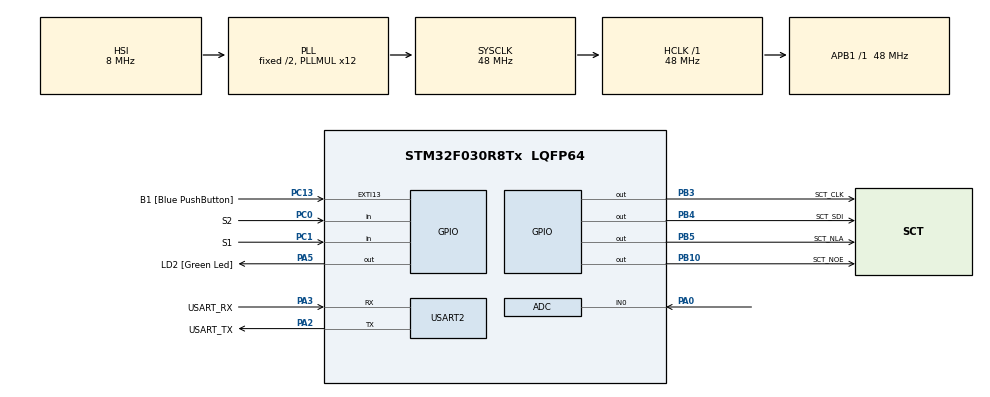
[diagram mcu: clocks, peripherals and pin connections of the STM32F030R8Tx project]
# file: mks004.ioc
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ADC.ContinuousConvMode=ENABLE
ADC.EOCSelection=ADC_EOC_SINGLE_CONV
ADC.Overrun=ADC_OVR_DATA_OVERWRITTEN
ADC.SamplingTime=ADC_SAMPLETIME_239CYCLES_5
Mcu.Family=STM32F0
Mcu.Name=STM32F030R8Tx
Mcu.Package=LQFP64
NVIC.ADC1_IRQn=true\:0\:0\:false\:false\:true\:true\:true\:true
PA0.Mode=IN0
PA0.Signal=ADC_IN0
PA13.GPIO_Label=TMS
PA13.Mode=Serial_Wire
PA13.Signal=SYS_SWDIO
PA14.GPIO_Label=TCK
PA14.Mode=Serial_Wire
PA14.Signal=SYS_SWCLK
PA2.GPIO_Label=USART_TX
PA2.GPIO_Mode=GPIO_MODE_AF_PP
PA2.GPIO_PuPd=GPIO_NOPULL
PA2.GPIO_Speed=GPIO_SPEED_FREQ_LOW
PA2.Mode=Asynchronous
PA2.Signal=USART2_TX
PA3.GPIO_Label=USART_RX
PA3.GPIO_Mode=GPIO_MODE_AF_PP
PA3.GPIO_PuPd=GPIO_NOPULL
PA3.GPIO_Speed=GPIO_SPEED_FREQ_LOW
PA3.Mode=Asynchronous
PA3.Signal=USART2_RX
PA5.GPIO_Label=LD2 [Green Led]
PA5.GPIO_Mode=GPIO_MODE_OUTPUT_PP
PA5.GPIO_PuPd=GPIO_NOPULL
PA5.GPIO_Speed=GPIO_SPEED_FREQ_LOW
PA5.Signal=GPIO_Output
PB10.GPIO_Label=SCT_NOE
PB10.Signal=GPIO_Output
PB3.GPIO_Label=SCT_CLK
PB3.Signal=GPIO_Output
PB4.GPIO_Label=SCT_SDI
PB4.Signal=GPIO_Output
PB5.GPIO_Label=SCT_NLA
PB5.Signal=GPIO_Output
PC0.GPIO_Label=S2
PC0.GPIO_PuPd=GPIO_PULLUP
PC0.Signal=GPIO_Input
PC1.GPIO_Label=S1
PC1.GPIO_PuPd=GPIO_PULLUP
PC1.Signal=GPIO_Input
PC13.GPIO_Label=B1 [Blue PushButton]
PC13.GPIO_ModeDefaultEXTI=GPIO_MODE_IT_FALLING
PC13.Signal=GPXTI13
PC14-OSC32_IN.Mode=LSE-External-Oscillator
PC14-OSC32_IN.Signal=RCC_OSC32_IN
PC15-OSC32_OUT.Mode=LSE-External-Oscillator
PC15-OSC32_OUT.Signal=RCC_OSC32_OUT
PF0-OSC_IN.Mode=HSE-External-Clock-Source
PF0-OSC_IN.Signal=RCC_OSC_IN
PF1-OSC_OUT.Signal=RCC_OSC_OUT
ProjectManager.HeapSize=0x200
ProjectManager.StackSize=0x400
ProjectManager.TargetToolchain=STM32CubeIDE
RCC.AHBFreq_Value=48000000
RCC.APB1Freq_Value=48000000
RCC.APB1TimFreq_Value=48000000
RCC.HCLKFreq_Value=48000000
RCC.PLLMUL=RCC_PLL_MUL12
RCC.SYSCLKFreq_VALUE=48000000
RCC.SYSCLKSource=RCC_SYSCLKSOURCE_PLLCLK
USART2.VirtualMode-Asynchronous=VM_ASYNC
VP_ADC_TempSens_Input.Mode=IN-TempSens
VP_ADC_Vref_Input.Mode=IN-Vrefint
board=NUCLEO-F030R8

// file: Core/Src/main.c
/* USER CODE BEGIN Header */
/**
  ******************************************************************************
  * @file           : main.c
  * @brief          : Main program body
  ******************************************************************************
  * @attention
  *
  * Copyright (c) 2025 STMicroelectronics.
  * All rights reserved.
  *
  * This software is licensed under terms that can be found in the LICENSE file
  * in the root directory of this software component.
  * If no LICENSE file comes with this software, it is provided AS-IS.
  *
  ******************************************************************************
  */
/* USER CODE END Header */
#include "main.h"

/* USER CODE BEGIN Includes */
#include "sct.h"
/* USER CODE END Includes */

ADC_HandleTypeDef hadc;

UART_HandleTypeDef huart2;

void SystemClock_Config(void);
static void MX_GPIO_Init(void);
static void MX_USART2_UART_Init(void);
static void MX_ADC_Init(void);
/* USER CODE BEGIN PFP */

#define ADC_Q 12

static volatile uint32_t raw_pot = 0;
static volatile uint32_t raw_temp = 0;
static volatile uint32_t raw_volt = 0;

#define TEMP110_CAL_ADDR ((uint16_t*) ((uint32_t) 0x1FFFF7C2))
#define TEMP30_CAL_ADDR  ((uint16_t*) ((uint32_t) 0x1FFFF7B8))
#define VREFINT_CAL_ADDR ((uint16_t*) ((uint32_t) 0x1FFFF7BA))

/* USER CODE END PFP */

/* USER CODE BEGIN 0 */
void HAL_ADC_ConvCpltCallback(ADC_HandleTypeDef* hadc)
{
	static uint32_t avg_pot = 0;
    static uint8_t channel = 0;

    uint32_t value = HAL_ADC_GetValue(hadc);

    switch (channel)
    {
        case 0:
        	avg_pot -= (avg_pot >> ADC_Q);
        	avg_pot += value;
        	raw_pot = avg_pot >> ADC_Q;
            break;

        case 1:
            raw_temp = value;
            break;

        case 2:
            raw_volt = value;
            break;
    }

    if (__HAL_ADC_GET_FLAG(hadc, ADC_FLAG_EOS))
        channel = 0;
    else
        channel++;
}
/* USER CODE END 0 */

int main(void)
{

  /* MCU Configuration--------------------------------------------------------*/

  /* Reset of all peripherals, Initializes the Flash interface and the Systick. */
  HAL_Init();

  /* Configure the system clock */
  SystemClock_Config();

  /* Initialize all configured peripherals */
  MX_GPIO_Init();
  MX_USART2_UART_Init();
  MX_ADC_Init();
  /* USER CODE BEGIN 2 */

  sct_init();
  HAL_ADCEx_Calibration_Start(&hadc);
  HAL_ADC_Start_IT(&hadc);

  static enum { SHOW_POT, SHOW_VOLT, SHOW_TEMP } state = SHOW_POT;
  static uint32_t state_time = 0;
  /* USER CODE END 2 */

  /* Infinite loop */
  while (1)
  {

    /* USER CODE BEGIN 3 */
	  uint16_t value = (uint16_t)((raw_pot *501)/4096);
	  uint8_t led = 0;

	  uint32_t voltage = 330 * (*VREFINT_CAL_ADDR) / raw_volt;

	  int32_t temperature = (raw_temp - (int32_t)(*TEMP30_CAL_ADDR));
	  temperature = temperature * (int32_t)(110 - 30);
	  temperature = temperature / (int32_t)(*TEMP110_CAL_ADDR - *TEMP30_CAL_ADDR);
	  temperature = temperature + 30;

      uint32_t now = HAL_GetTick();

	  if (HAL_GPIO_ReadPin(S1_GPIO_Port, S1_Pin) == GPIO_PIN_RESET) {
			state = SHOW_VOLT;
			state_time = now;
	  }
	  if (HAL_GPIO_ReadPin(S2_GPIO_Port, S2_Pin) == GPIO_PIN_RESET) {
			state = SHOW_TEMP;
			state_time = now;
	  }

	  if (now - state_time > 1000)
			state = SHOW_POT;

	  switch (state)
	  {
			case SHOW_POT:
				value = value;
				led = raw_pot * 8 / 4096;
				break;

			case SHOW_VOLT:
				value = voltage / 10;
				led = 0x02;
				break;

			case SHOW_TEMP:
				value = temperature;
				led = 0x04;
				break;
	  }

      sct_value(value, led);
	  HAL_Delay(50);
  }
  /* USER CODE END 3 */
}

void SystemClock_Config(void)
{
  RCC_OscInitTypeDef RCC_OscInitStruct = {0};
  RCC_ClkInitTypeDef RCC_ClkInitStruct = {0};

  /** Initializes the RCC Oscillators according to the specified parameters
  * in the RCC_OscInitTypeDef structure.
  */
  RCC_OscInitStruct.OscillatorType = RCC_OSCILLATORTYPE_HSI|RCC_OSCILLATORTYPE_HSI14;
  RCC_OscInitStruct.HSIState = RCC_HSI_ON;
  RCC_OscInitStruct.HSI14State = RCC_HSI14_ON;
  RCC_OscInitStruct.HSICalibrationValue = RCC_HSICALIBRATION_DEFAULT;
  RCC_OscInitStruct.HSI14CalibrationValue = 16;
  RCC_OscInitStruct.PLL.PLLState = RCC_PLL_ON;
  RCC_OscInitStruct.PLL.PLLSource = RCC_PLLSOURCE_HSI;
  RCC_OscInitStruct.PLL.PLLMUL = RCC_PLL_MUL12;
  RCC_OscInitStruct.PLL.PREDIV = RCC_PREDIV_DIV1;
  if (HAL_RCC_OscConfig(&RCC_OscInitStruct) != HAL_OK)
  {
    Error_Handler();
  }

  /** Initializes the CPU, AHB and APB buses clocks
  */
  RCC_ClkInitStruct.ClockType = RCC_CLOCKTYPE_HCLK|RCC_CLOCKTYPE_SYSCLK
                              |RCC_CLOCKTYPE_PCLK1;
  RCC_ClkInitStruct.SYSCLKSource = RCC_SYSCLKSOURCE_PLLCLK;
  RCC_ClkInitStruct.AHBCLKDivider = RCC_SYSCLK_DIV1;
  RCC_ClkInitStruct.APB1CLKDivider = RCC_HCLK_DIV1;

  if (HAL_RCC_ClockConfig(&RCC_ClkInitStruct, FLASH_LATENCY_1) != HAL_OK)
  {
    Error_Handler();
  }
}

static void MX_ADC_Init(void)
{

  ADC_ChannelConfTypeDef sConfig = {0};

  /** Configure the global features of the ADC (Clock, Resolution, Data Alignment and number of conversion)
  */
  hadc.Instance = ADC1;
  hadc.Init.ClockPrescaler = ADC_CLOCK_ASYNC_DIV1;
  hadc.Init.Resolution = ADC_RESOLUTION_12B;
  hadc.Init.DataAlign = ADC_DATAALIGN_RIGHT;
  hadc.Init.ScanConvMode = ADC_SCAN_DIRECTION_FORWARD;
  hadc.Init.EOCSelection = ADC_EOC_SINGLE_CONV;
  hadc.Init.LowPowerAutoWait = DISABLE;
  hadc.Init.LowPowerAutoPowerOff = DISABLE;
  hadc.Init.ContinuousConvMode = ENABLE;
  hadc.Init.DiscontinuousConvMode = DISABLE;
  hadc.Init.ExternalTrigConv = ADC_SOFTWARE_START;
  hadc.Init.ExternalTrigConvEdge = ADC_EXTERNALTRIGCONVEDGE_NONE;
  hadc.Init.DMAContinuousRequests = DISABLE;
  hadc.Init.Overrun = ADC_OVR_DATA_OVERWRITTEN;
  if (HAL_ADC_Init(&hadc) != HAL_OK)
  {
    Error_Handler();
  }

  /** Configure for the selected ADC regular channel to be converted.
  */
  sConfig.Channel = ADC_CHANNEL_0;
  sConfig.Rank = ADC_RANK_CHANNEL_NUMBER;
  sConfig.SamplingTime = ADC_SAMPLETIME_239CYCLES_5;
  if (HAL_ADC_ConfigChannel(&hadc, &sConfig) != HAL_OK)
  {
    Error_Handler();
  }

  /** Configure for the selected ADC regular channel to be converted.
  */
  sConfig.Channel = ADC_CHANNEL_TEMPSENSOR;
  if (HAL_ADC_ConfigChannel(&hadc, &sConfig) != HAL_OK)
  {
    Error_Handler();
  }

  /** Configure for the selected ADC regular channel to be converted.
  */
  sConfig.Channel = ADC_CHANNEL_VREFINT;
  if (HAL_ADC_ConfigChannel(&hadc, &sConfig) != HAL_OK)
  {
    Error_Handler();
  }

}

static void MX_USART2_UART_Init(void)
{

  huart2.Instance = USART2;
  huart2.Init.BaudRate = 38400;
  huart2.Init.WordLength = UART_WORDLENGTH_8B;
  huart2.Init.StopBits = UART_STOPBITS_1;
  huart2.Init.Parity = UART_PARITY_NONE;
  huart2.Init.Mode = UART_MODE_TX_RX;
  huart2.Init.HwFlowCtl = UART_HWCONTROL_NONE;
  huart2.Init.OverSampling = UART_OVERSAMPLING_16;
  huart2.Init.OneBitSampling = UART_ONE_BIT_SAMPLE_DISABLE;
  huart2.AdvancedInit.AdvFeatureInit = UART_ADVFEATURE_NO_INIT;
  if (HAL_UART_Init(&huart2) != HAL_OK)
  {
    Error_Handler();
  }

}

static void MX_GPIO_Init(void)
{
  GPIO_InitTypeDef GPIO_InitStruct = {0};

  /* GPIO Ports Clock Enable */
  __HAL_RCC_GPIOC_CLK_ENABLE();
  __HAL_RCC_GPIOF_CLK_ENABLE();
  __HAL_RCC_GPIOA_CLK_ENABLE();
  __HAL_RCC_GPIOB_CLK_ENABLE();

  /*Configure GPIO pin Output Level */
  HAL_GPIO_WritePin(LD2_GPIO_Port, LD2_Pin, GPIO_PIN_RESET);

  /*Configure GPIO pin Output Level */
  HAL_GPIO_WritePin(GPIOB, SCT_NOE_Pin|SCT_CLK_Pin|SCT_SDI_Pin|SCT_NLA_Pin, GPIO_PIN_RESET);

  /*Configure GPIO pin : B1_Pin */
  GPIO_InitStruct.Pin = B1_Pin;
  GPIO_InitStruct.Mode = GPIO_MODE_IT_FALLING;
  GPIO_InitStruct.Pull = GPIO_NOPULL;
  HAL_GPIO_Init(B1_GPIO_Port, &GPIO_InitStruct);

  /*Configure GPIO pins : S2_Pin S1_Pin */
  GPIO_InitStruct.Pin = S2_Pin|S1_Pin;
  GPIO_InitStruct.Mode = GPIO_MODE_INPUT;
  GPIO_InitStruct.Pull = GPIO_PULLUP;
  HAL_GPIO_Init(GPIOC, &GPIO_InitStruct);

  /*Configure GPIO pin : LD2_Pin */
  GPIO_InitStruct.Pin = LD2_Pin;
  GPIO_InitStruct.Mode = GPIO_MODE_OUTPUT_PP;
  GPIO_InitStruct.Pull = GPIO_NOPULL;
  GPIO_InitStruct.Speed = GPIO_SPEED_FREQ_LOW;
  HAL_GPIO_Init(LD2_GPIO_Port, &GPIO_InitStruct);

  /*Configure GPIO pins : SCT_NOE_Pin SCT_CLK_Pin SCT_SDI_Pin SCT_NLA_Pin */
  GPIO_InitStruct.Pin = SCT_NOE_Pin|SCT_CLK_Pin|SCT_SDI_Pin|SCT_NLA_Pin;
  GPIO_InitStruct.Mode = GPIO_MODE_OUTPUT_PP;
  GPIO_InitStruct.Pull = GPIO_NOPULL;
  GPIO_InitStruct.Speed = GPIO_SPEED_FREQ_LOW;
  HAL_GPIO_Init(GPIOB, &GPIO_InitStruct);

}

void Error_Handler(void)
{
  __disable_irq();
  while (1)
  {
  }
}
